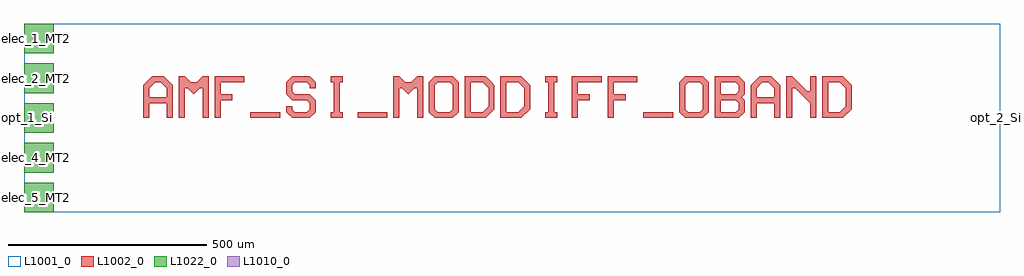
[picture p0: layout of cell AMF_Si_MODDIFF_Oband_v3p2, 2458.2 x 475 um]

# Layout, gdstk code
import gdstk
lib = gdstk.Library(unit=1e-6, precision=1e-09)
def R(c, l, rs):  # rectangles x0, y0, x1, y1
    for r in rs: c.add(gdstk.rectangle(r[:2], r[2:], *l))
def A(c, l, x, y, w, h, nx, ny, dx, dy):  # array of equal rectangles
    R(c, l, [(x+i*dx, y+j*dy, x+i*dx+w, y+j*dy+h) for i in range(nx) for j in range(ny)])
def P(c, l, *ps):  # polygons
    for p in ps: c.add(gdstk.Polygon(p, *l))
L1001_0 = (1001, 0)
L1002_0 = (1002, 0)
L1010_0 = (1010, 0)
L1022_0 = (1022, 0)

amf_si_moddiff_oband_v3p = lib.new_cell('AMF_Si_MODDIFF_Oband_v3p2')
R(amf_si_moddiff_oband_v3p, L1001_0, [(0,-237.5,2458.2,237.5)])
R(amf_si_moddiff_oband_v3p, L1002_0, [(570,0,645,15), (840,0,915,15), (1560,0,1635,15)])
P(amf_si_moddiff_oband_v3p, L1002_0, [(300,0),(300,82.5),(322.5,105),(352.5,105),(367.5,90),(330,90),(315,75),(315,52.5),(360,52.5),(360,75),(345,90),(367.5,90),(375,82.5),(375,0),(360,0),(360,37.5),(315,37.5),(315,0)],
  [(390,0),(390,105),(405,105),(420,90),(435,90),(450,105),(465,105),(465,0),(450,0),(450,75),(442.5,75),(427.5,60),(412.5,75),(405,75),(405,0)],
  [(480,0),(480,105),(555,105),(555,90),(495,90),(495,60),(525,60),(525,45),(495,45),(495,0)],
  [(675,0),(660,15),(660,30),(675,30),(675,22.5),(682.5,15),(712.5,15),(720,22.5),(720,37.5),(712.5,45),(675,45),(660,60),(660,90),(675,105),(720,105),(735,90),(735,75),(720,75),(720,82.5),(712.5,90),(682.5,90),(675,82.5),(675,67.5),(682.5,60),(720,60),(735,45),(735,15),(720,0)],
  [(772.5,0),(772.5,15),(780,15),(780,90),(772.5,90),(772.5,105),(802.5,105),(802.5,90),(795,90),(795,15),(802.5,15),(802.5,0)],
  [(930,0),(930,105),(945,105),(960,90),(975,90),(990,105),(1005,105),(1005,0),(990,0),(990,75),(982.5,75),(967.5,60),(952.5,75),(945,75),(945,0)],
  [(1035,0),(1020,15),(1020,90),(1035,105),(1080,105),(1095,90),(1095,52.5),(1080,52.5),(1080,82.5),(1072.5,90),(1042.5,90),(1035,82.5),(1035,22.5),(1042.5,15),(1072.5,15),(1080,22.5),(1080,52.5),(1095,52.5),(1095,15),(1080,0)],
  [(1110,0),(1110,105),(1162.5,105),(1177.5,90),(1125,90),(1125,15),(1155,15),(1170,30),(1170,75),(1155,90),(1177.5,90),(1185,82.5),(1185,22.5),(1162.5,0)],
  [(1200,0),(1200,105),(1252.5,105),(1267.5,90),(1215,90),(1215,15),(1245,15),(1260,30),(1260,75),(1245,90),(1267.5,90),(1275,82.5),(1275,22.5),(1252.5,0)],
  [(1312.5,0),(1312.5,15),(1320,15),(1320,90),(1312.5,90),(1312.5,105),(1342.5,105),(1342.5,90),(1335,90),(1335,15),(1342.5,15),(1342.5,0)],
  [(1380,0),(1380,105),(1455,105),(1455,90),(1395,90),(1395,60),(1425,60),(1425,45),(1395,45),(1395,0)],
  [(1470,0),(1470,105),(1545,105),(1545,90),(1485,90),(1485,60),(1515,60),(1515,45),(1485,45),(1485,0)],
  [(1665,0),(1650,15),(1650,90),(1665,105),(1710,105),(1725,90),(1725,52.5),(1710,52.5),(1710,82.5),(1702.5,90),(1672.5,90),(1665,82.5),(1665,22.5),(1672.5,15),(1702.5,15),(1710,22.5),(1710,52.5),(1725,52.5),(1725,15),(1710,0)],
  [(1740,0),(1740,105),(1800,105),(1815,90),(1755,90),(1755,60),(1792.5,60),(1800,67.5),(1800,82.5),(1792.5,90),(1815,90),(1815,60),(1807.5,52.5),(1815,45),(1755,45),(1755,15),(1792.5,15),(1800,22.5),(1800,37.5),(1792.5,45),(1815,45),(1815,15),(1800,0)],
  [(1830,0),(1830,82.5),(1852.5,105),(1882.5,105),(1897.5,90),(1860,90),(1845,75),(1845,52.5),(1890,52.5),(1890,75),(1875,90),(1897.5,90),(1905,82.5),(1905,0),(1890,0),(1890,37.5),(1845,37.5),(1845,0)],
  [(1920,0),(1920,105),(1935,105),(1972.5,67.5),(1980,67.5),(1980,105),(1995,105),(1995,0),(1980,0),(1980,37.5),(1942.5,75),(1935,75),(1935,0)],
  [(2010,0),(2010,105),(2062.5,105),(2077.5,90),(2025,90),(2025,15),(2055,15),(2070,30),(2070,75),(2055,90),(2077.5,90),(2085,82.5),(2085,22.5),(2062.5,0)])
R(amf_si_moddiff_oband_v3p, L1010_0, [(0,-0.205,0.41,0.205), (2457.79,-0.205,2458.2,0.205)])
A(amf_si_moddiff_oband_v3p, L1022_0, 0, -237.5, 75, 75, 1, 5, 0, 100)
amf_si_moddiff_oband_v3p.add(gdstk.Label('opt_2_Si', (2458.2,0), layer=1010, texttype=0))
amf_si_moddiff_oband_v3p.add(gdstk.Label('opt_1_Si', (0,0), layer=1010, texttype=0))
amf_si_moddiff_oband_v3p.add(gdstk.Label('elec_1_MT2', (0,200), layer=1022, texttype=0))
amf_si_moddiff_oband_v3p.add(gdstk.Label('elec_2_MT2', (0,100), layer=1022, texttype=0))
amf_si_moddiff_oband_v3p.add(gdstk.Label('elec_3_MT2', (0,0), layer=1022, texttype=0))
amf_si_moddiff_oband_v3p.add(gdstk.Label('elec_4_MT2', (0,-100), layer=1022, texttype=0))
amf_si_moddiff_oband_v3p.add(gdstk.Label('elec_5_MT2', (0,-200), layer=1022, texttype=0))

lib.write_gds('AMF_Si_MODDIFF_Oband_v3p2.gds')
